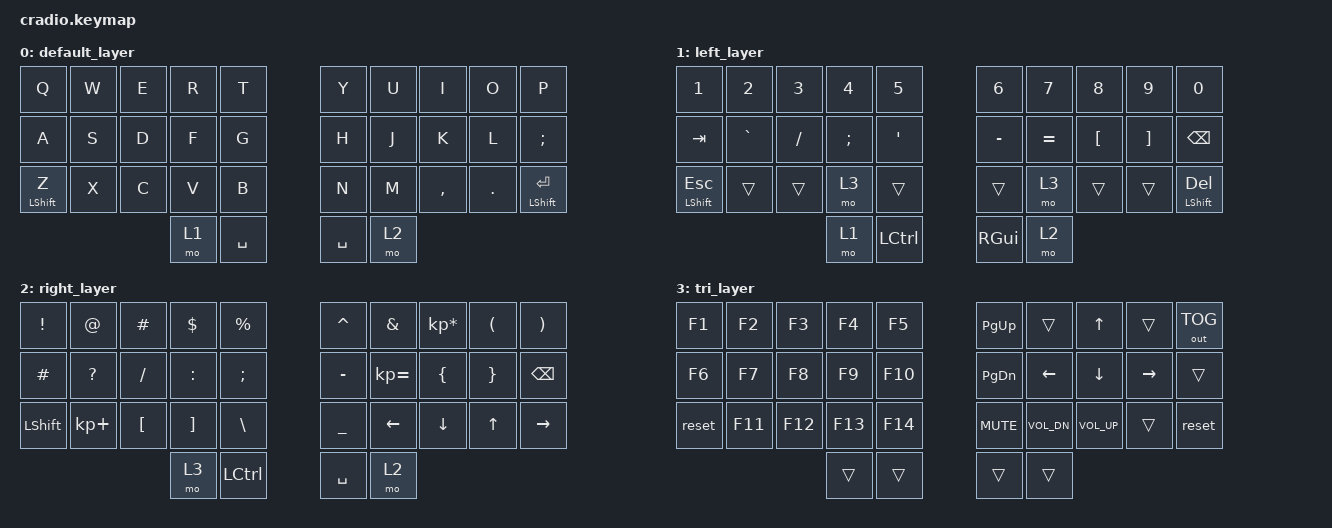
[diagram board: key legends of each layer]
/*
 * Copyright (c) 2020 The ZMK Contributors
 *
 * SPDX-License-Identifier: MIT
 */

#include <behaviors.dtsi>
#include <dt-bindings/zmk/keys.h>
#include <dt-bindings/zmk/bt.h>
#include <dt-bindings/zmk/outputs.h>


&mt {
   // flavor = "tap-preferred";
   // tapping_term_ms = <200>;
};

/ {

    combos {
        compatible = "zmk,combos";

        combo_del {
            timeout-ms = <50>;
            key-positions = <8 9>;
            bindings = <&kp DEL>;
        };
        combo_backspace {
            timeout-ms = <50>;
            key-positions = <18 19>;
            bindings = <&kp BSPC>;
        };
        combo_esc {
            timeout-ms = <50>;
            key-positions = <0 1>;
            bindings = <&kp ESC>;
        };
        combo_tab {
            timeout-ms = <50>;
            key-positions = <10 11>;
            bindings = <&kp TAB>;
        };
        combo_lctr {
            timeout-ms = <50>;
            key-positions = <22 23>;
            bindings = <&kp LCTRL>;
        };
        combo_rctr {
            timeout-ms = <50>;
            key-positions = <26 27>;
            bindings = <&kp LCTRL>;
        };
        combo_ralt {
            timeout-ms = <50>;
            key-positions = <17 18>;
            bindings = <&kp RALT>;
        };
        combo_lalt {
            timeout-ms = <50>;
            key-positions = <11 12>;
            bindings = <&kp LALT>;
        };
        combo_lgui {
            timeout-ms = <50>;
            key-positions = <12 13>;
            bindings = <&kp LGUI>;
        };
        combo_rgui {
            timeout-ms = <50>;
            key-positions = <17 16>;
            bindings = <&kp RGUI>;
        };
    };

        keymap {
                compatible = "zmk,keymap";

                default_layer {
                bindings = <
                &kp Q        &kp W &kp E &kp R &kp T                  &kp Y &kp U &kp I     &kp O   &kp P
                &kp A        &kp S &kp D &kp F &kp G                  &kp H &kp J &kp K     &kp L   &kp SCLN
                &mt LSHIFT Z &kp X &kp C &kp V &kp B                  &kp N &kp M &kp COMMA &kp DOT &mt LSHIFT RET
                                         &mo 1 &kp SPACE              &kp SPACE &mo 2
                >;
                };

                left_layer {
                bindings = <
                &kp N1      &kp N2      &kp N3    &kp N4    &kp N5          &kp N6      &kp N7      &kp N8      &kp N9      &kp N0
                &kp TAB     &kp GRAVE   &kp SLASH &kp SEMI  &kp SQT         &kp MINUS   &kp EQUAL   &kp LBKT    &kp RBKT    &kp BSPC
                &mt LSHIFT ESC &trans   &trans    &mo 3     &trans          &trans      &mo 3       &trans      &trans      &mt LSHIFT DEL
                                                  &mo 1     &kp LCTRL       &kp RGUI    &mo 2
                >;
                };

                right_layer {
                bindings = <
                &kp EXCL    &kp AT      &kp HASH  &kp DLLR   &kp PRCNT            &kp CARET  &kp AMPS       &kp KP_MULTIPLY &kp LPAR    &kp RPAR
                &kp HASH    &kp QMARK   &kp FSLH  &kp COLON  &kp SEMI             &kp MINUS  &kp KP_EQUAL   &kp LBRC        &kp RBRC    &kp BSPC
                &kp LSHIFT  &kp KP_PLUS &kp LBKT  &kp RBKT   &kp BSLH             &kp UNDER  &kp LEFT       &kp DOWN        &kp UP      &kp RIGHT
                                                  &mo 3      &kp LCTRL            &kp SPACE  &mo 2
                >;
                };

                tri_layer {
                bindings = <
                &kp F1  &kp F2  &kp F3  &kp F4  &kp F5                  &kp PG_UP   &trans          &kp UP        &trans    &out OUT_TOG
                &kp F6  &kp F7  &kp F8  &kp F9  &kp F10                 &kp PG_DN   &kp LEFT        &kp DOWN      &kp RIGHT &trans
                &reset  &kp F11 &kp F12 &kp F13 &kp F14                 &kp K_MUTE  &kp K_VOL_DN    &kp K_VOL_UP  &trans    &reset
                                        &trans  &trans                  &trans &trans
                >;
                };

        };
};
